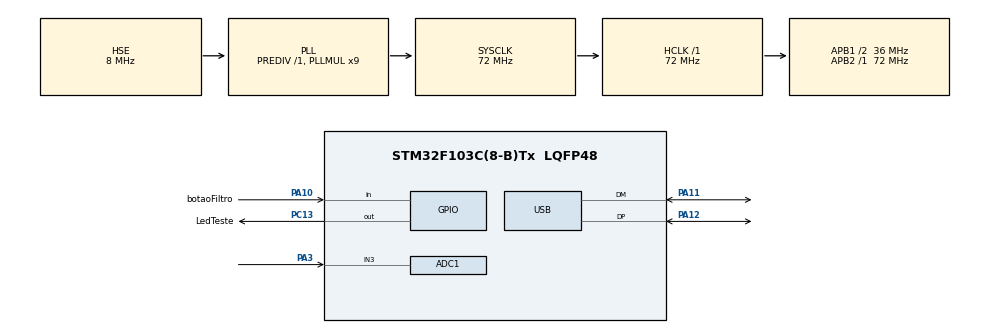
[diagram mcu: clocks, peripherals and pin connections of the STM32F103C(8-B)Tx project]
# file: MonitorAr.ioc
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ADC1.Channel-4\#ChannelRegularConversion=ADC_CHANNEL_3
ADC1.NbrOfConversionFlag=1
ADC1.Rank-4\#ChannelRegularConversion=1
ADC1.SamplingTime-4\#ChannelRegularConversion=ADC_SAMPLETIME_55CYCLES_5
ADC1.master=1
Mcu.Family=STM32F1
Mcu.Name=STM32F103C(8-B)Tx
Mcu.Package=LQFP48
NVIC.PriorityGroup=NVIC_PRIORITYGROUP_4
NVIC.USB_LP_CAN1_RX0_IRQn=true\:0\:0\:false\:false\:true\:false\:true
PA10.GPIO_Label=botaoFiltro
PA10.GPIO_PuPd=GPIO_PULLUP
PA10.Signal=GPIO_Input
PA11.Mode=Device
PA11.Signal=USB_DM
PA12.Mode=Device
PA12.Signal=USB_DP
PA13.Mode=Serial_Wire
PA13.Signal=SYS_JTMS-SWDIO
PA14.Mode=Serial_Wire
PA14.Signal=SYS_JTCK-SWCLK
PA3.Signal=ADCx_IN3
PC13-TAMPER-RTC.GPIO_Label=LedTeste
PC13-TAMPER-RTC.Signal=GPIO_Output
PD0-OSC_IN.Mode=HSE-External-Oscillator
PD0-OSC_IN.Signal=RCC_OSC_IN
PD1-OSC_OUT.Mode=HSE-External-Oscillator
PD1-OSC_OUT.Signal=RCC_OSC_OUT
ProjectManager.HeapSize=0x200
ProjectManager.StackSize=0x400
ProjectManager.TargetToolchain=STM32CubeIDE
RCC.ADCPresc=RCC_ADCPCLK2_DIV6
RCC.AHBFreq_Value=72000000
RCC.APB1CLKDivider=RCC_HCLK_DIV2
RCC.APB1Freq_Value=36000000
RCC.APB1TimFreq_Value=72000000
RCC.APB2Freq_Value=72000000
RCC.APB2TimFreq_Value=72000000
RCC.HCLKFreq_Value=72000000
RCC.PLLMUL=RCC_PLL_MUL9
RCC.SYSCLKFreq_VALUE=72000000
RCC.SYSCLKSource=RCC_SYSCLKSOURCE_PLLCLK
RCC.USBFreq_Value=48000000
RCC.USBPrescaler=RCC_USBCLKSOURCE_PLL_DIV1_5
SH.ADCx_IN3.0=ADC1_IN3,IN3
USB_DEVICE.CLASS_NAME_FS=CDC
USB_DEVICE.VirtualMode=Cdc
USB_DEVICE.VirtualModeFS=Cdc_FS
VP_USB_DEVICE_VS_USB_DEVICE_CDC_FS.Mode=CDC_FS
board=custom

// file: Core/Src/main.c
/* USER CODE BEGIN Header */
/**
  ******************************************************************************
  * @file           : main.c
  * @brief          : Main program body
  ******************************************************************************
  * @attention
  *
  * <h2><center>&copy; Copyright (c) 2026 STMicroelectronics.
  * All rights reserved.</center></h2>
  *
  * This software component is licensed by ST under BSD 3-Clause license,
  * the "License"; You may not use this file except in compliance with the
  * License. You may obtain a copy of the License at:
  *                        opensource.org/licenses/BSD-3-Clause
  *
  ******************************************************************************
  */
/* USER CODE END Header */
#include "main.h"
#include "usb_device.h"

/* USER CODE BEGIN Includes */
#include <stdio.h>
#include <stdint.h>
#include <stdbool.h>
#include "usbd_cdc_if.h"
/* USER CODE END Includes */

/* USER CODE BEGIN PD */
/* ==========================================================
 * PROTOCOLO PROPRIET�?RIO
 *
 * AA 01 02 FILTRO ADC_H ADC_L CHECKSUM CC
 *
 * Byte 0 = início
 * Byte 1 = versão
 * Byte 2 = tipo
 * Byte 3 = estado do filtro
 * Byte 4 = ADC alto
 * Byte 5 = ADC baixo
 * Byte 6 = checksum
 * Byte 7 = fim
 * ========================================================== */

#define BYTE_START             0xAA
#define VERSAO_PROTOCOLO       0x01
#define TIPO_LEITURA_SENSOR    0x02
#define BYTE_FIM               0xCC

#define TAMANHO_PACOTE         8

#define ADC_MIN                0
#define ADC_MAX                4095

#define TAMANHO_JANELA_MEDIA   5

#define CLICK_BOTAO  	HAL_GPIO_ReadPin(botaoFiltro_GPIO_Port, botaoFiltro_Pin)

/* USER CODE END PD */

ADC_HandleTypeDef hadc1;

/* USER CODE BEGIN PV */
static uint16_t buffer_media[TAMANHO_JANELA_MEDIA] = {0};

static uint8_t indice_buffer = 0;

static uint8_t buffer_cheio = 0;

static uint8_t estadoBotaoAnterior = GPIO_PIN_SET;

uint32_t ultimoEnvio = 0;

/* USER CODE END PV */

void SystemClock_Config(void);
static void MX_GPIO_Init(void);
static void MX_ADC1_Init(void);
/* USER CODE BEGIN PFP */
void MontarPacote(uint16_t valor_adc, uint8_t filtro_ativo, uint8_t *pacote);

void AdicionarAmostra(uint16_t nova_amostra);

uint16_t CalcularMediaMovel(void);

uint8_t LerBotao(void);

uint8_t CalcularChecksum(uint8_t versao, uint8_t tipo, uint8_t filtro, uint8_t adc_alto, uint8_t adc_baixo);

/* USER CODE END PFP */

int main(void)
{

  /* MCU Configuration--------------------------------------------------------*/

  /* Reset of all peripherals, Initializes the Flash interface and the Systick. */
  HAL_Init();

  /* Configure the system clock */
  SystemClock_Config();

  /* Initialize all configured peripherals */
  MX_GPIO_Init();
  MX_USB_DEVICE_Init();
  MX_ADC1_Init();
  /* USER CODE BEGIN 2 */
  /* Estado atual do filtro */
  uint8_t filtro_ativo = 0;

  /* Pacote de transmissão */
  uint8_t pacote[TAMANHO_PACOTE];
  /* USER CODE END 2 */

  /* Infinite loop */
  /* USER CODE BEGIN WHILE */
  while (1)
  {
	  /* Verifica o botão continuamente */
	      if (LerBotao())
	      {
	          filtro_ativo = !filtro_ativo;
	      }

	      /* A cada 1 segundo, faz uma nova leitura e envia */
	      if (HAL_GetTick() - ultimoEnvio >= 1000)
	      {
	          ultimoEnvio = HAL_GetTick();

	          HAL_ADC_Start(&hadc1);

	          if (HAL_ADC_PollForConversion(&hadc1, 10) == HAL_OK)
	          {
	              uint16_t leitura_bruta = HAL_ADC_GetValue(&hadc1);

	              /* Adiciona a leitura atual ao buffer */
	              AdicionarAmostra(leitura_bruta);

	              uint16_t valor_final;

	              if (filtro_ativo)
	              {
	                  valor_final = CalcularMediaMovel();
	              }
	              else
	              {
	                  valor_final = leitura_bruta;
	              }

	              /* Monta e envia o pacote */
	              MontarPacote(valor_final, filtro_ativo, pacote);

	              CDC_Transmit_FS(pacote, TAMANHO_PACOTE);
	          }

	          HAL_ADC_Stop(&hadc1);
	      }
    /* USER CODE END WHILE */

  }
}

void SystemClock_Config(void)
{
  RCC_OscInitTypeDef RCC_OscInitStruct = {0};
  RCC_ClkInitTypeDef RCC_ClkInitStruct = {0};
  RCC_PeriphCLKInitTypeDef PeriphClkInit = {0};

  /** Initializes the RCC Oscillators according to the specified parameters
  * in the RCC_OscInitTypeDef structure.
  */
  RCC_OscInitStruct.OscillatorType = RCC_OSCILLATORTYPE_HSE;
  RCC_OscInitStruct.HSEState = RCC_HSE_ON;
  RCC_OscInitStruct.HSEPredivValue = RCC_HSE_PREDIV_DIV1;
  RCC_OscInitStruct.HSIState = RCC_HSI_ON;
  RCC_OscInitStruct.PLL.PLLState = RCC_PLL_ON;
  RCC_OscInitStruct.PLL.PLLSource = RCC_PLLSOURCE_HSE;
  RCC_OscInitStruct.PLL.PLLMUL = RCC_PLL_MUL9;
  if (HAL_RCC_OscConfig(&RCC_OscInitStruct) != HAL_OK)
  {
    Error_Handler();
  }
  /** Initializes the CPU, AHB and APB buses clocks
  */
  RCC_ClkInitStruct.ClockType = RCC_CLOCKTYPE_HCLK|RCC_CLOCKTYPE_SYSCLK
                              |RCC_CLOCKTYPE_PCLK1|RCC_CLOCKTYPE_PCLK2;
  RCC_ClkInitStruct.SYSCLKSource = RCC_SYSCLKSOURCE_PLLCLK;
  RCC_ClkInitStruct.AHBCLKDivider = RCC_SYSCLK_DIV1;
  RCC_ClkInitStruct.APB1CLKDivider = RCC_HCLK_DIV2;
  RCC_ClkInitStruct.APB2CLKDivider = RCC_HCLK_DIV1;

  if (HAL_RCC_ClockConfig(&RCC_ClkInitStruct, FLASH_LATENCY_2) != HAL_OK)
  {
    Error_Handler();
  }
  PeriphClkInit.PeriphClockSelection = RCC_PERIPHCLK_ADC|RCC_PERIPHCLK_USB;
  PeriphClkInit.AdcClockSelection = RCC_ADCPCLK2_DIV6;
  PeriphClkInit.UsbClockSelection = RCC_USBCLKSOURCE_PLL_DIV1_5;
  if (HAL_RCCEx_PeriphCLKConfig(&PeriphClkInit) != HAL_OK)
  {
    Error_Handler();
  }
}

static void MX_ADC1_Init(void)
{

  ADC_ChannelConfTypeDef sConfig = {0};

  /** Common config
  */
  hadc1.Instance = ADC1;
  hadc1.Init.ScanConvMode = ADC_SCAN_DISABLE;
  hadc1.Init.ContinuousConvMode = DISABLE;
  hadc1.Init.DiscontinuousConvMode = DISABLE;
  hadc1.Init.ExternalTrigConv = ADC_SOFTWARE_START;
  hadc1.Init.DataAlign = ADC_DATAALIGN_RIGHT;
  hadc1.Init.NbrOfConversion = 1;
  if (HAL_ADC_Init(&hadc1) != HAL_OK)
  {
    Error_Handler();
  }
  /** Configure Regular Channel
  */
  sConfig.Channel = ADC_CHANNEL_3;
  sConfig.Rank = ADC_REGULAR_RANK_1;
  sConfig.SamplingTime = ADC_SAMPLETIME_55CYCLES_5;
  if (HAL_ADC_ConfigChannel(&hadc1, &sConfig) != HAL_OK)
  {
    Error_Handler();
  }

}

static void MX_GPIO_Init(void)
{
  GPIO_InitTypeDef GPIO_InitStruct = {0};

  /* GPIO Ports Clock Enable */
  __HAL_RCC_GPIOC_CLK_ENABLE();
  __HAL_RCC_GPIOD_CLK_ENABLE();
  __HAL_RCC_GPIOA_CLK_ENABLE();

  /*Configure GPIO pin Output Level */
  HAL_GPIO_WritePin(LedTeste_GPIO_Port, LedTeste_Pin, GPIO_PIN_RESET);

  /*Configure GPIO pin : LedTeste_Pin */
  GPIO_InitStruct.Pin = LedTeste_Pin;
  GPIO_InitStruct.Mode = GPIO_MODE_OUTPUT_PP;
  GPIO_InitStruct.Pull = GPIO_NOPULL;
  GPIO_InitStruct.Speed = GPIO_SPEED_FREQ_LOW;
  HAL_GPIO_Init(LedTeste_GPIO_Port, &GPIO_InitStruct);

  /*Configure GPIO pin : botaoFiltro_Pin */
  GPIO_InitStruct.Pin = botaoFiltro_Pin;
  GPIO_InitStruct.Mode = GPIO_MODE_INPUT;
  GPIO_InitStruct.Pull = GPIO_PULLUP;
  HAL_GPIO_Init(botaoFiltro_GPIO_Port, &GPIO_InitStruct);

}

/* USER CODE BEGIN 4 */

uint8_t CalcularChecksum(uint8_t versao, uint8_t tipo, uint8_t filtro, uint8_t adc_alto, uint8_t adc_baixo)
{
    uint16_t soma = versao + tipo + filtro + adc_alto + adc_baixo;

    return (uint8_t)(soma & 0xFF);
}

void MontarPacote(uint16_t valor_adc, uint8_t filtro_ativo, uint8_t *pacote)
{
    if (valor_adc > ADC_MAX)
    {
        valor_adc = ADC_MAX;
    }

    uint8_t adc_alto = (uint8_t)((valor_adc >> 8) & 0xFF);

    uint8_t adc_baixo = (uint8_t)(valor_adc & 0xFF);

    uint8_t filtro_byte = filtro_ativo ? 0x01 : 0x00;

    uint8_t checksum = CalcularChecksum(VERSAO_PROTOCOLO, TIPO_LEITURA_SENSOR, filtro_byte, adc_alto, adc_baixo);

    pacote[0] = BYTE_START;
    pacote[1] = VERSAO_PROTOCOLO;
    pacote[2] = TIPO_LEITURA_SENSOR;
    pacote[3] = filtro_byte;
    pacote[4] = adc_alto;
    pacote[5] = adc_baixo;
    pacote[6] = checksum;
    pacote[7] = BYTE_FIM;
}

void AdicionarAmostra(uint16_t nova_amostra)
{
    buffer_media[indice_buffer] = nova_amostra;

    indice_buffer++;

    if (indice_buffer >= TAMANHO_JANELA_MEDIA)
    {
        indice_buffer = 0;
        buffer_cheio = 1;
    }
}
uint16_t CalcularMediaMovel(void)
{
    uint32_t soma = 0;

    uint8_t quantidade = buffer_cheio ? TAMANHO_JANELA_MEDIA : indice_buffer;

    if (quantidade == 0)
    {
        return 0;
    }

    for (uint8_t i = 0; i < quantidade; i++)
    {
        soma += buffer_media[i];
    }

    return (uint16_t)(soma / quantidade);
}

uint8_t LerBotao(void)
{
	 uint8_t estadoBotaoAtual = CLICK_BOTAO;

	    if (estadoBotaoAnterior == 1 && estadoBotaoAtual == 0)
	    {
	        estadoBotaoAnterior = 0;
	        return 1;
	    }

	    if (estadoBotaoAtual == 1)
	    {
	        estadoBotaoAnterior = 1;
	    }

	    return 0;
}

/* USER CODE END 4 */

void Error_Handler(void)
{
  __disable_irq();
  while (1)
  {
  }
}

/************************ (C) COPYRIGHT STMicroelectronics *****END OF FILE****/
